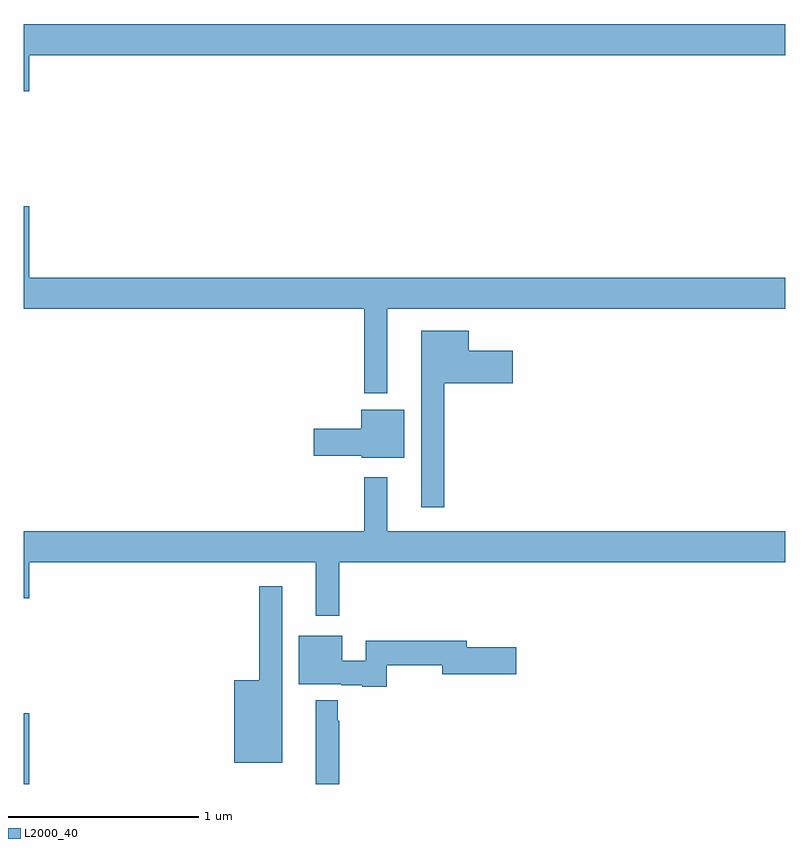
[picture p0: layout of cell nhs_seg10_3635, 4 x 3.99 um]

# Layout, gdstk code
import gdstk
lib = gdstk.Library(unit=1e-6, precision=1e-09)
def R(c, l, rs):  # rectangles x0, y0, x1, y1
    for r in rs: c.add(gdstk.rectangle(r[:2], r[2:], *l))
def P(c, l, *ps):  # polygons
    for p in ps: c.add(gdstk.Polygon(p, *l))
L2000_40 = (2000, 40)

nhs_seg10_3635 = lib.new_cell('nhs_seg10_3635')
R(nhs_seg10_3635, L2000_40, [(309,1284.5,309.028,1284.871)])
P(nhs_seg10_3635, L2000_40, [(309.028,1288.328),(313,1288.328),(313,1288.492),(309,1288.492),(309,1288.14),(309.028,1288.14)],
  [(310.909,1286.996),(313,1286.996),(313,1287.16),(309.028,1287.16),(309.028,1287.535),(309,1287.535),(309,1286.996),(310.788,1286.996),(310.788,1286.552),(310.909,1286.552)],
  [(311.209,1286.606),(311.569,1286.606),(311.569,1286.776),(311.338,1286.776),(311.338,1286.881),(311.087,1286.881),(311.087,1285.953),(311.209,1285.953)],
  [(310.999,1286.467),(310.772,1286.467),(310.772,1286.366),(310.524,1286.366),(310.524,1286.224),(310.776,1286.224),(310.776,1286.213),(310.999,1286.213)],
  [(309,1285.476),(309.028,1285.476),(309.028,1285.664),(310.535,1285.664),(310.535,1285.383),(310.657,1285.383),(310.657,1285.664),(313,1285.664),(313,1285.828),(310.909,1285.828),(310.909,1286.11),(310.788,1286.11),(310.788,1285.828),(309,1285.828)],
  [(310.357,1285.54),(310.236,1285.54),(310.236,1285.045),(310.106,1285.045),(310.106,1284.611),(310.357,1284.611)],
  [(310.906,1285.123),(311.198,1285.123),(311.198,1285.076),(311.587,1285.076),(311.587,1285.218),(311.326,1285.218),(311.326,1285.252),(310.797,1285.252),(310.797,1285.148),(310.672,1285.148),(310.672,1285.279),(310.445,1285.279),(310.445,1285.025),(310.668,1285.025),(310.668,1285.019),(310.779,1285.019),(310.779,1285.012),(310.906,1285.012)],
  [(310.657,1284.833),(310.65,1284.833),(310.65,1284.94),(310.535,1284.94),(310.535,1284.5),(310.657,1284.5)])

lib.write_gds('nhs_seg10_3635.gds')
